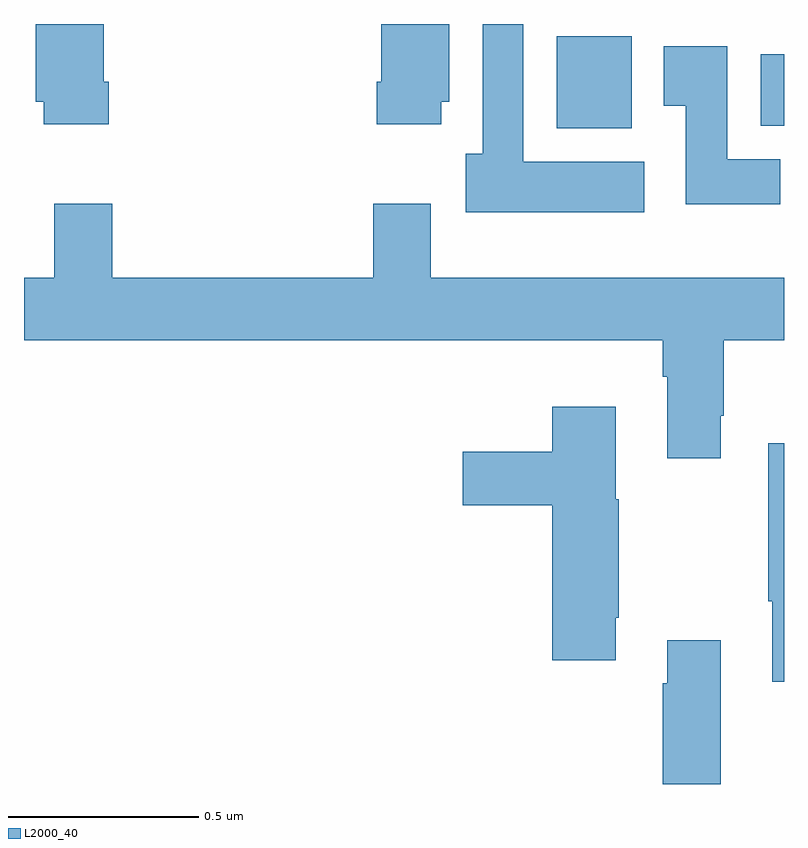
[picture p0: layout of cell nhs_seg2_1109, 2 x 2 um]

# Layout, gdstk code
import gdstk
lib = gdstk.Library(unit=1e-6, precision=1e-09)
def R(c, l, rs):  # rectangles x0, y0, x1, y1
    for r in rs: c.add(gdstk.rectangle(r[:2], r[2:], *l))
def P(c, l, *ps):  # polygons
    for p in ps: c.add(gdstk.Polygon(p, *l))
L2000_40 = (2000, 40)

nhs_seg2_1109 = lib.new_cell('nhs_seg2_1109')
R(nhs_seg2_1109, L2000_40, [(125.402,649.526,125.599,649.768), (125.939,649.532,126,649.72)])
P(nhs_seg2_1109, L2000_40, [(125.098,649.596),(125.119,649.596),(125.119,649.8),(124.94,649.8),(124.94,649.648),(124.928,649.648),(124.928,649.536),(125.098,649.536)],
  [(124.223,649.648),(124.21,649.648),(124.21,649.8),(124.031,649.8),(124.031,649.596),(124.052,649.596),(124.052,649.536),(124.223,649.536)],
  [(125.632,649.438),(125.314,649.438),(125.314,649.8),(125.207,649.8),(125.207,649.458),(125.162,649.458),(125.162,649.304),(125.632,649.304)],
  [(125.99,649.444),(125.851,649.444),(125.851,649.741),(125.684,649.741),(125.684,649.585),(125.741,649.585),(125.741,649.326),(125.99,649.326)],
  [(125.833,648.769),(125.841,648.769),(125.841,648.968),(126,648.968),(126,649.132),(125.071,649.132),(125.071,649.327),(124.919,649.327),(124.919,649.132),(124.232,649.132),(124.232,649.327),(124.079,649.327),(124.079,649.132),(124,649.132),(124,648.968),(125.681,648.968),(125.681,648.872),(125.693,648.872),(125.693,648.657),(125.833,648.657)],
  [(125.557,648.238),(125.565,648.238),(125.565,648.549),(125.557,648.549),(125.557,648.793),(125.39,648.793),(125.39,648.675),(125.154,648.675),(125.154,648.533),(125.39,648.533),(125.39,648.126),(125.557,648.126)],
  [(126,648.697),(125.958,648.697),(125.958,648.281),(125.969,648.281),(125.969,648.069),(126,648.069)],
  [(125.833,648.178),(125.693,648.178),(125.693,648.065),(125.681,648.065),(125.681,647.8),(125.833,647.8)])

lib.write_gds('nhs_seg2_1109.gds')
